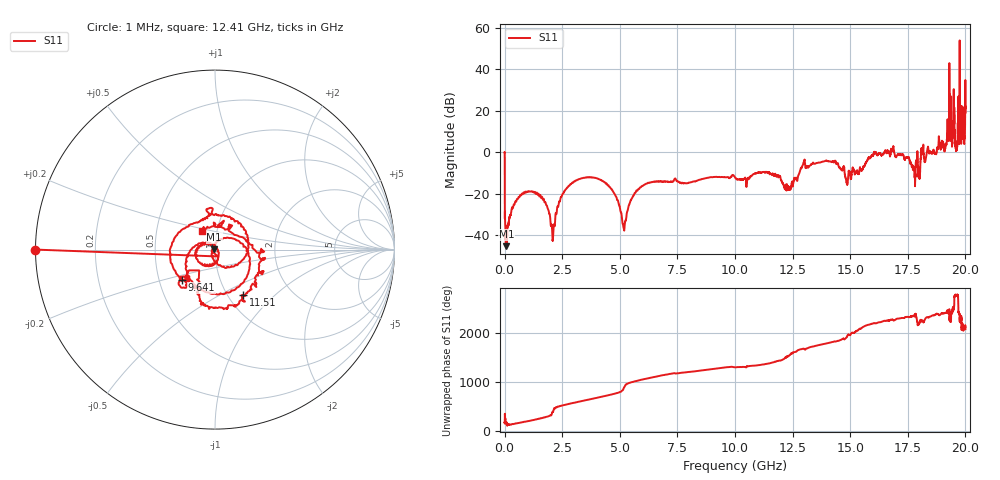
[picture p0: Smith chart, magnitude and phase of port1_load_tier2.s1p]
! Created with skrf 1.8.0 (http://scikit-rf.org).
# GHz S RI R 50.0
!freq ReS11 ImS11
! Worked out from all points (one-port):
!   10001 points, 1 MHz to 20 GHz, reference 50 ohm
!   lowest |S11| = -45.3 dB at 79 MHz (marker M1), VSWR 1.01, Z = 49.5 + j0.236 ohm
!   |S11| at or under -10 dB: 7.333 MHz to 10.88 GHz (10.87 GHz wide, 200 % of centre); 11.5 GHz to 12.8 GHz (1.297 GHz wide, 10.7 % of centre); 14.76 GHz to 14.92 GHz (161.6 MHz wide, 1.09 % of centre) (the widest 3 of 18)
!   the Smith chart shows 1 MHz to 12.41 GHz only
!   S11 on the Smith chart (normalised r, x): 1 MHz: -0.00, +0.00; 9.641 GHz: 0.65, -0.24; 11.51 GHz: 1.18, -0.65; 12.41 GHz: 0.85, +0.18
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0.001  -1.001 0.000172
0.0789961  -0.00485 0.00238
2.500875  -0.0881 0.0348
5.00075  0.0126 0.0458
7.500625  -0.0279 0.1994
9.640518  -0.1847 -0.1692
10.0005  -0.1947 -0.1574
11.50642  0.1577 -0.2508
12.40838  -0.0731 0.1034
12.50038  -0.1272 0.0845
15.00025  -0.2775 0.0887
16.0342  0.7169 0.683
17.50013  -0.7518 0.1036
18.16809  0.0219 1.348
18.86206  -1.829 -0.8572
19.20204  0.1663 -2.199
19.20404  0.0872 -2.201
19.24404  0.2673 -3.082
19.40403  -0.7255 -1.949
19.41603  -0.427 -1.328
19.48203  2.854 -1.403
19.61802  -0.3024 -1.259
19.65002  -0.1822 -1.538
19.65202  -0.5039 -1.612
19.79801  -2.437 1.156
19.85201  3.388 0.4125
19.85401  2.458 1.331
20  1.762 -11.46
